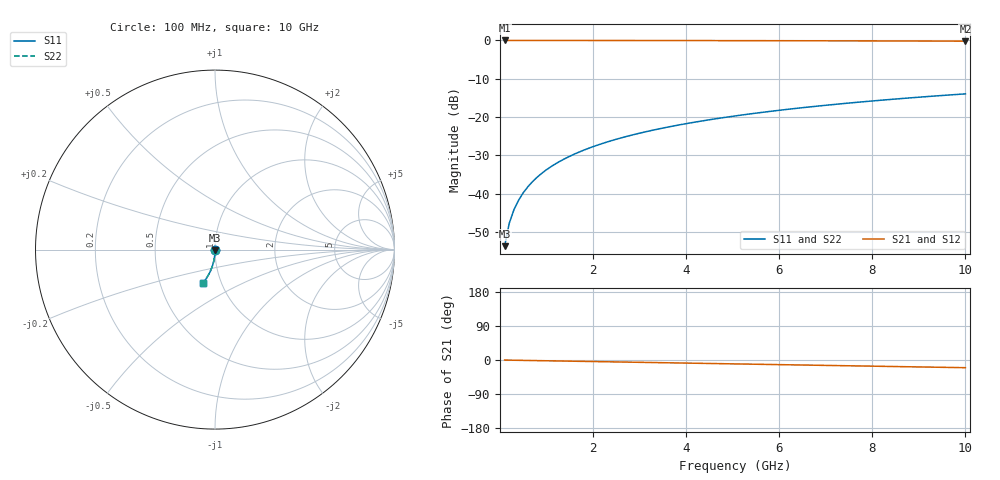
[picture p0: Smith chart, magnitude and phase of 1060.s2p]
# Hz S RI R 50.00
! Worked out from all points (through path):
!   100 points, 100 MHz to 10 GHz, reference 50 ohm
!   highest |S21| = 0.00 dB at 100 MHz (marker M1); lowest = -0.2 dB at 10 GHz (marker M2)
!   group delay of S21, straight-line fit = 5.64 ps
!   lowest |S11| = -53.7 dB at 100 MHz (marker M3), VSWR 1.00, Z = 50 - j0.206 ohm
!   |S11| at or under -10 dB: start of sweep to end of sweep
!   |S22| runs from -53.7 to -13.9 dB; largest |S21 - S12| = 0
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1e8  0.00022 -0.00206  0.9998 -0.00355  0.9998 -0.00355  0.00022 -0.00206
2e8  0.000197 -0.00411  0.9997 -0.0071  0.9997 -0.0071  0.000197 -0.00411
3e8  0.000159 -0.00617  0.9997 -0.0106  0.9997 -0.0106  0.000159 -0.00617
4e8  0.000106 -0.00822  0.9996 -0.0142  0.9996 -0.0142  0.000106 -0.00822
5e8  3.88e-05 -0.0103  0.9995 -0.0177  0.9995 -0.0177  3.88e-05 -0.0103
6e8  -4.34e-05 -0.0123  0.9994 -0.0213  0.9994 -0.0213  -4.34e-05 -0.0123
7e8  -0.00014 -0.0144  0.9993 -0.0248  0.9993 -0.0248  -0.00014 -0.0144
8e8  -0.000252 -0.0164  0.9992 -0.0284  0.9992 -0.0284  -0.000252 -0.0164
9e8  -0.000378 -0.0185  0.9991 -0.0319  0.9991 -0.0319  -0.000378 -0.0185
1.1e9  -0.000674 -0.0226  0.9987 -0.039  0.9987 -0.039  -0.000674 -0.0226
1.4e9  -0.00123 -0.0287  0.9981 -0.0497  0.9981 -0.0497  -0.00123 -0.0287
1.8e9  -0.00217 -0.0369  0.997 -0.0638  0.997 -0.0638  -0.00217 -0.0369
2.1e9  -0.00303 -0.0431  0.996 -0.0744  0.996 -0.0744  -0.00303 -0.0431
2.5e9  -0.00438 -0.0512  0.9944 -0.0886  0.9944 -0.0886  -0.00438 -0.0512
2.9e9  -0.00596 -0.0593  0.9926 -0.1027  0.9926 -0.1027  -0.00596 -0.0593
3.4e9  -0.00826 -0.0693  0.9899 -0.1202  0.9899 -0.1202  -0.00826 -0.0693
4.2e9  -0.0127 -0.0852  0.9848 -0.1481  0.9848 -0.1481  -0.0127 -0.0852
5.1e9  -0.0187 -0.1027  0.9778 -0.1792  0.9778 -0.1792  -0.0187 -0.1027
5.9e9  -0.025 -0.118  0.9705 -0.2066  0.9705 -0.2066  -0.025 -0.118
6.7e9  -0.0321 -0.1328  0.9623 -0.2335  0.9623 -0.2335  -0.0321 -0.1328
8.4e9  -0.0499 -0.1626  0.9415 -0.2893  0.9415 -0.2893  -0.0499 -0.1626
1e10  -0.0696 -0.1883  0.9183 -0.3396  0.9183 -0.3396  -0.0696 -0.1883
